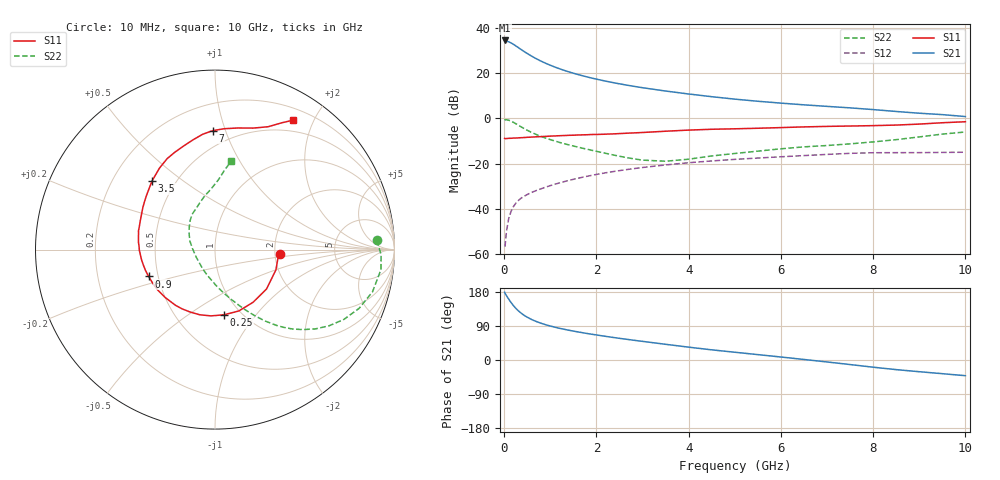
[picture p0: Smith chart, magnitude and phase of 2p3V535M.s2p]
! (c) 2009  Infineon Technologies AG, Munich
! Infineon Technologies  Discrete & RF Semiconductors
! BFP420
! VCE =  3.5 V,  IC =  35 mA
! Common Emitter S-Parameters:  Nov 2009
# GHz  S  MA  R  50
!  f  S11  S21  S12  S22
! GHz  MAG  ANG  MAG  ANG  MAG  ANG  MAG  ANG
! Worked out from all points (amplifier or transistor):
!   46 points, 10 MHz to 10 GHz, reference 50 ohm
!   highest |S21| = 34.4 dB at 10 MHz (marker M1)
!   |S21| within 3 dB of that: start of sweep to 296.7 MHz
!   unconditionally stable (mu >= 1): start of sweep to 11.37 MHz; 1.473 GHz to end of sweep
!   at 300 MHz: K = 0.44, MSG = 33.9 dB, |S12| = -36.5 dB
!   at 1.7 GHz: K = 1.04, MAG = 21.2 dB, |S12| = -26.0 dB
!   at 10 GHz: K = 1.06, MAG = 6.4 dB, |S12| = -15.0 dB
!   lowest NFmin = 1.64 dB at 900 MHz
!   S11 on the Smith chart (normalised r, x): 10 MHz: 2.12, -0.12; 250 MHz: 0.84, -0.70; 900 MHz: 0.44, -0.16; 3.5 GHz: 0.37, +0.39; 7 GHz: 0.38, +0.91; 10 GHz: 0.35, +1.71
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0.01  0.361 -4.0  52.45 178.9  0.0015 95.3  0.9033 3.3
0.02  0.3542 -6.9  51.23 175.7  0.0015 93.3  0.9259 -1.8
0.05  0.3577 -18.5  50.56 169.9  0.0032 80.8  0.9313 -6.9
0.1  0.3614 -37.4  48.94 160.4  0.0062 76.5  0.9086 -15.0
0.15  0.3622 -54.1  46.26 151.6  0.0088 73.4  0.8669 -22.2
0.2  0.3668 -68.8  43.22 143.8  0.0112 69.9  0.8162 -28.5
0.25  0.3667 -82.1  39.93 136.7  0.0132 67.1  0.7638 -33.8
0.3  0.37 -93.5  36.95 130.7  0.015 64.9  0.7117 -38.4
0.4  0.3743 -111.6  31.49 120.7  0.0181 62.1  0.6198 -45.6
0.5  0.3805 -125.4  27.02 113.0  0.0207 60.7  0.5446 -50.9
0.6  0.3851 -136.2  23.47 106.6  0.0232 60.1  0.4851 -55.0
0.7  0.3907 -144.9  20.63 101.4  0.0255 59.8  0.4374 -58.4
0.9  0.399 -158.0  16.44 93.1  0.0302 59.7  0.3663 -64.1
1.1  0.4083 -167.9  13.56 86.6  0.035 59.7  0.3152 -69.0
1.3  0.4165 -175.9  11.47 81.1  0.0399 59.2  0.2758 -74.0
1.7  0.4313 171.5  8.713 72.0  0.05 57.5  0.2187 -83.9
2.4  0.4546 154.1  6.042 58.9  0.0675 52.5  0.1526 -104.7
3.5  0.5187 132.6  4.005 41.4  0.0934 42.7  0.1128 -158.5
5.5  0.6033 106.8  2.382 14.2  0.1327 23.7  0.1885 139.7
7  0.6632 91.0  1.836 -5.2  0.1596 9.5  0.2507 115.2
8.5  0.7093 72.6  1.416 -25.4  0.1744 -7.7  0.3379 93.8
10  0.8406 59.0  1.094 -41.4  0.1783 -19.1  0.4993 79.7
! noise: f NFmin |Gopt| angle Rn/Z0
0.9  1.64  0.3  -155  0.13
1.8  1.9  0.37  -142  0.15
2.4  2.1  0.34  -134  0.19
3  2.11  0.4  -126  0.22
4  2.25  0.5  -110  0.35
5  2.73  0.54  -94  0.59
6  3.16  0.59  -82  0.84
